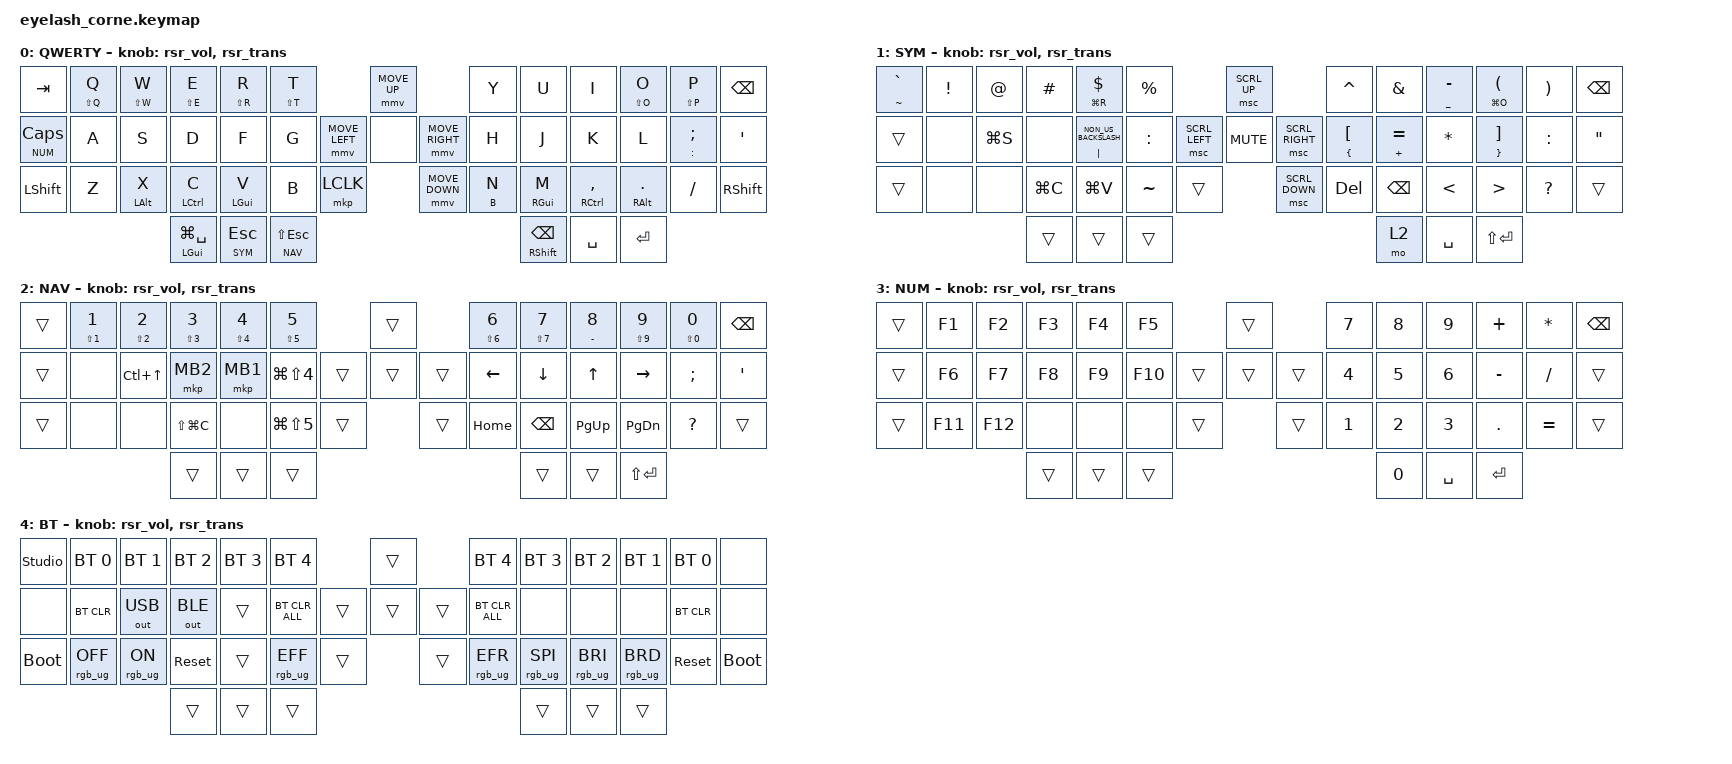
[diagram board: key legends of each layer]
// 토템 키맵(zmk-config-totem)을 Eyelash Corne 48키 배열로 옮긴 키맵
//
// 키 이름은 루트의 key_positions.png 기준 (L=왼손, R=오른손, M=가운데)
//
// 키 위치 번호 (코르네)
//    0  1  2  3  4  5      6       7  8  9 10 11 12
//   13 14 15 16 17 18   19 20 21  22 23 24 25 26 27
//   28 29 30 31 32 33  34  35     36 37 38 39 40 41
//             42 43 44             45 46 47
//
// 토템 → 코르네 대응
//   토템 0~4 / 5~9      → L2~L6 / R1~R5   (1~5 / 7~11)
//   토템 10~14 / 15~19  → L8~L12 / R7~R11 (14~18 / 22~26)
//   토템 20~25 / 26~31  → L13~L18 / R13~R18 (28~33 / 36~41)
//   토템 32~34 / 35~37  → L19~L21 / R19~R21 (42~44 / 45~47)
//
// 레이어: 0 QWERTY, 1 SYM(L20 홀드), 2 NAV(L21·R19 홀드), 3 NUM(L7 홀드), 4 BT(L20+L21 콤보)

#define ZMK_POINTING_DEFAULT_MOVE_VAL 1200  // 600
#define ZMK_POINTING_DEFAULT_SCRL_VAL 25   // 10

#include <input/processors.dtsi>
#include <zephyr/dt-bindings/input/input-event-codes.h>
#include <behaviors/runtime-sensor-rotate.dtsi>
#include <behaviors.dtsi>
#include <dt-bindings/zmk/bt.h>
#include <dt-bindings/zmk/keys.h>
#include <dt-bindings/zmk/outputs.h>
#include <dt-bindings/zmk/pointing.h>
#include <dt-bindings/zmk/rgb.h>

#define QWERTY 0
#define SYM    1
#define NAV    2
#define NUM    3
#define BT     4

&soft_off { hold-time-ms = <2000>; };

&lt {
    tapping-term-ms = <200>;
    flavor = "tap-preferred";
    quick-tap-ms = <150>;
    require-prior-idle-ms = <150>;
};

&mt {
    tapping-term-ms = <175>;
    flavor = "tap-preferred";
};

// 조이스틱 마우스 가속: 짧게 누르면 1~3px 로 정밀하게, 길게 누르면 천천히 출발해 1초 뒤 최고 속도
// 속도 = 최고 속도 × (누른 시간 / 1000ms)^2
&mmv {
    time-to-max-speed-ms = <1000>;
    acceleration-exponent = <2>;
};

// 조이스틱(M 키, &mmv)을 움직이면 NAV 레이어를 켜고, 마지막 움직임 후 700ms 가 지나면 끈다
&mmv_input_listener {
    input-processors = <&zip_temp_layer NAV 700>;
};

/ {
    behaviors {
        // 왼손 홈로우 모드: 오른손 키(+오른손 엄지)가 눌릴 때만 hold 로 판정

        hmLeft: hmLeft {
            compatible = "zmk,behavior-hold-tap";
            bindings = <&kp>, <&kp>;

            #binding-cells = <2>;
            tapping-term-ms = <200>;
            quick-tap-ms = <150>;
            flavor = "tap-preferred";
            hold-trigger-key-positions = <7 8 9 10 11 12 22 23 24 25 26 27 36 37 38 39 40 41 45 46 47>;
        };

        // 오른손 홈로우 모드: 왼손 키(+왼손 엄지)가 눌릴 때만 hold 로 판정

        hmRight: hmRight {
            compatible = "zmk,behavior-hold-tap";
            bindings = <&kp>, <&kp>;

            #binding-cells = <2>;
            tapping-term-ms = <200>;
            quick-tap-ms = <150>;
            flavor = "tap-preferred";
            hold-trigger-key-positions = <0 1 2 3 4 5 13 14 15 16 17 18 28 29 30 31 32 33 42 43 44>;
        };

        // auto shift: 짧게 누르면 기본 자모, 길게 누르면 Shift 조합(쌍자음 ㅃㅉㄸㄲㅆ, 모음 ㅒㅖ)

        as: auto_shift {
            compatible = "zmk,behavior-hold-tap";
            bindings = <&kp>, <&kp>;

            #binding-cells = <2>;
            tapping-term-ms = <200>;
            flavor = "tap-preferred";
            quick-tap-ms = <150>;
            require-prior-idle-ms = <150>;
        };

        // 조합키 전용 hold-tap: 홀드 시 매크로로 한 번만 tap (auto-repeat 없음)

        mts: mt_shot {
            compatible = "zmk,behavior-hold-tap";
            bindings = <&shot>, <&kp>;

            #binding-cells = <2>;
            tapping-term-ms = <175>;
            flavor = "tap-preferred";
        };

        // L21 전용 NAV 레이어 탭: 다른 키를 누르는 순간 NAV 로 확정해서 숫자 연타 중 Shift+Esc 오입력 방지
        // (require-prior-idle-ms·quick-tap-ms 없음 → 직전 키 직후 다시 눌러도 홀드 가능)

        lt_nav: lt_nav {
            compatible = "zmk,behavior-hold-tap";
            bindings = <&mo>, <&kp>;

            #binding-cells = <2>;
            tapping-term-ms = <200>;
            flavor = "hold-preferred";
        };

        rsr_vol: rsr_vol {
            compatible = "zmk,behavior-runtime-sensor-rotate";
            #sensor-binding-cells = <0>;
            tap-ms = <5>;
            cw-binding = <&kp C_VOL_UP>;
            ccw-binding = <&kp C_VOL_DN>;
        };

        rsr_trans: rsr_trans {
            compatible = "zmk,behavior-runtime-sensor-rotate";
            #sensor-binding-cells = <0>;
            tap-ms = <0>;
        };
    };

    macros {
        // 파라미터로 받은 키코드를 한 번만 tap (auto-repeat 방지용)

        shot: shot {
            compatible = "zmk,behavior-macro-one-param";
            #binding-cells = <1>;
            bindings = <&macro_param_1to1 &kp MACRO_PLACEHOLDER>;
        };

        enters: enters {
            compatible = "zmk,behavior-macro";
            #binding-cells = <0>;
            bindings = <&kp ENTER &kp ENTER>;
            label = "ENTERS";
        };
    };

    combos {
        compatible = "zmk,combos";

        // Q+S+Z 2초 홀드: 소프트 전원 끄기

        softoff {
            bindings = <&soft_off>;
            key-positions = <1 15 29>;
        };

        // L1+L2: ESC

        cb_esc {
            bindings = <&kp ESC>;
            key-positions = <0 1>;
        };

        // K+L

        cb_enter {
            bindings = <&kp ENTER>;
            key-positions = <24 25>;
        };

        // L20+L21: BT 레이어

        cb_bt_layer {
            bindings = <&mo BT>;
            key-positions = <43 44>;
            require-prior-idle-ms = <150>;
            layers = <QWERTY>;
        };

        // Q+W

        cb_enters {
            bindings = <&enters>;
            key-positions = <23 24>;
        };

        cb_nav {
            bindings = <&mo 2>;
            key-positions = <43 45>;
        };

        // O+P
        // A+Scb_enters {};
    };

    keymap {
        compatible = "zmk,keymap";

        default_layer {
            display-name = "QWERTY";
            bindings = <
&kp TAB       &as LS(Q) Q  &as LS(W) W      &as LS(E) E     &as LS(R) R     &as LS(T) T                                     &mmv MOVE_UP                     &kp Y         &kp U            &kp I                &as LS(O) O         &as LS(P) P          &kp BSPC
&lt NUM CAPS  &kp A        &kp S            &kp D           &kp F           &kp G                           &mmv MOVE_LEFT  &none           &mmv MOVE_RIGHT  &kp H         &kp J            &kp K                &kp L               &as COLON SEMICOLON  &kp SQT
&kp LSHFT     &kp Z        &hmLeft LALT X   &hmLeft LCTRL C &hmLeft LGUI V  &kp B              &mkp LCLK                    &mmv MOVE_DOWN                   &hmRight B N  &hmRight RGUI M  &hmRight RCTRL COMMA &hmRight RALT DOT    &kp SLASH            &kp RSHFT
                                            &mt LGUI LG(SPACE)  &lt SYM ESC     &lt_nav NAV LS(ESC)                                                                  &mt RSHFT BSPC  &kp SPACE      &kp ENTER
            >;

            sensor-bindings = <&rsr_vol &rsr_trans>;
        };

        symbol_layer {
            display-name = "SYM";
            bindings = <
&as TILDE GRAVE  &kp EXCLAMATION  &kp AT_SIGN  &kp HASH   &mts LG(R) DLLR            &kp PRCNT                    &msc SCRL_UP    &kp CARET      &kp AMPS        &as UNDER MINUS  &mts LG(O) LPAR  &kp RPAR             &kp BACKSPACE
&trans           &none            &kp LG(S)    &none      &as PIPE NON_US_BACKSLASH  &kp COLON            &msc SCRL_LEFT  &kp C_MUTE  &msc SCRL_RIGHT  &as LBRC LBKT  &as PLUS EQUAL  &kp ASTRK        &as RBRC RBKT    &kp COLON            &kp DQT
&trans           &none            &none        &kp LG(C)  &kp LG(V)                  &kp TILDE  &trans            &msc SCRL_DOWN  &kp DEL        &kp BSPC        &kp LT           &kp GT           &kp QMARK            &trans
                                               &trans     &trans                     &trans                                       &mo 2          &kp SPACE       &kp LS(ENTER)
            >;

            sensor-bindings = <&rsr_vol &rsr_trans>;
        };

        nav_layer {
            display-name = "NAV";
            bindings = <
&trans  &as LS(N1) N1  &as LS(N2) N2  &as LS(N3) N3   &as LS(N4) N4  &as LS(N5) N5                            &trans          &as LS(N6) N6  &as LS(N7) N7  &as MINUS N8  &as LS(N9) N9  &as LS(N0) N0  &kp BACKSPACE
&trans  &none         &kp LC(UP)    &mkp MB2       &mkp MB1      &kp LG(LS(NUMBER_4))            &trans  &trans  &trans  &kp LEFT      &kp DOWN      &kp UP        &kp RIGHT     &kp SEMI      &kp SQT
&trans  &none         &none         &kp LS(LG(C))  &none         &kp LG(LS(NUMBER_5))  &trans            &trans          &kp HOME      &kp BSPC      &kp PG_UP     &kp PG_DN     &kp QMARK     &trans
                                    &trans         &trans        &trans                                                  &trans        &trans        &kp LS(ENTER)
            >;

            sensor-bindings = <&rsr_vol &rsr_trans>;
        };

        num_layer {
            display-name = "NUM";
            bindings = <
&trans  &kp F1   &kp F2   &kp F3  &kp F4  &kp F5                     &trans          &kp N7        &kp NUMBER_8  &kp NUMBER_9  &kp PLUS    &kp ASTRK  &kp BACKSPACE
&trans  &kp F6   &kp F7   &kp F8  &kp F9  &kp F10            &trans  &trans  &trans  &kp NUMBER_4  &kp NUMBER_5  &kp NUMBER_6  &kp MINUS   &kp SLASH  &trans
&trans  &kp F11  &kp F12  &none   &none   &none    &trans            &trans          &kp NUMBER_1  &kp NUMBER_2  &kp NUMBER_3  &kp PERIOD  &kp EQUAL  &trans
                          &trans  &trans  &trans                                     &kp N0        &kp SPACE     &kp ENTER
            >;

            sensor-bindings = <&rsr_vol &rsr_trans>;
        };

        bt_layer {
            display-name = "BT";
            bindings = <
&studio_unlock  &bt BT_SEL 0     &bt BT_SEL 1    &bt BT_SEL 2  &bt BT_SEL 3  &bt BT_SEL 4                       &trans          &bt BT_SEL 4     &bt BT_SEL 3     &bt BT_SEL 2     &bt BT_SEL 1     &bt BT_SEL 0  &none
&none           &bt BT_CLR       &out OUT_USB    &out OUT_BLE  &trans        &bt BT_CLR_ALL             &trans  &trans  &trans  &bt BT_CLR_ALL   &none            &none            &none            &bt BT_CLR    &none
&bootloader     &rgb_ug RGB_OFF  &rgb_ug RGB_ON  &sys_reset    &trans        &rgb_ug RGB_EFF  &trans            &trans          &rgb_ug RGB_EFR  &rgb_ug RGB_SPI  &rgb_ug RGB_BRI  &rgb_ug RGB_BRD  &sys_reset    &bootloader
                                                 &trans        &trans        &trans                                             &trans           &trans           &trans
            >;

            sensor-bindings = <&rsr_vol &rsr_trans>;
        };
    };
};
